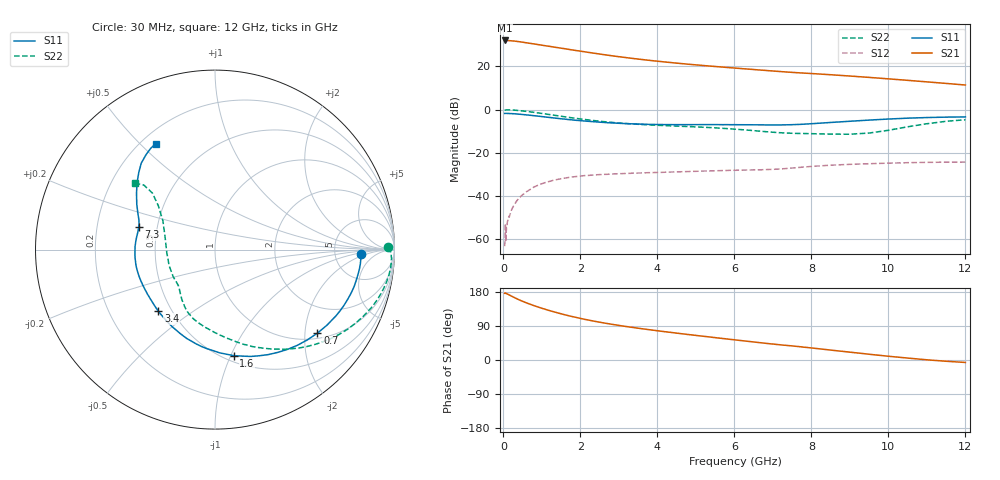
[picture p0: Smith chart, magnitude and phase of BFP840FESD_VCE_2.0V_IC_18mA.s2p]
! Infineon Technologies  Discrete & RF Semiconductors
! BFP840FESD
! VCE =  2.0 V,  IC =  18 mA
! Common Emitter S-Parameters:  May 2012
# GHz  S  MA  R  50
!  f  S11  S21  S12  S22
! GHz  MAG  ANG  MAG  ANG  MAG  ANG  MAG  ANG
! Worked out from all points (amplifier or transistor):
!   103 points, 30 MHz to 12 GHz, reference 50 ohm
!   highest |S21| = 31.9 dB at 30 MHz (marker M1)
!   |S21| within 3 dB of that: start of sweep to 1.294 GHz
!   unconditionally stable (mu >= 1): 5.968 GHz to end of sweep
!   at 400 MHz: K = 0.18, MSG = 36.2 dB, |S12| = -41.0 dB
!   at 3.7 GHz: K = 0.70, MSG = 26.1 dB, |S12| = -29.2 dB
!   at 12 GHz: K = 1.10, MAG = 15.9 dB, |S12| = -24.3 dB
!   S11 on the Smith chart (normalised r, x): 30 MHz: 9.53, -1.36; 700 MHz: 1.14, -2.32; 1.6 GHz: 0.56, -1.03; 3.4 GHz: 0.42, -0.37; 7.3 GHz: 0.39, +0.12; 12 GHz: 0.26, +0.56
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0.03  0.8136 -1.7  39.41 176.0  0.0007 56.9  0.965 0.7
0.04  0.814 -2.3  39.38 175.6  0.0009 67.7  0.9715 0.1
0.05  0.8145 -3.0  39.35 176.7  0.0023 61.8  0.9784 -0.5
0.06  0.8138 -3.4  39.24 176.3  0.0009 67.2  0.978 -1.0
0.15  0.81 -9.0  39.01 171.7  0.0033 75.9  0.9838 -5.9
0.25  0.802 -14.9  38.38 166.5  0.0057 77.1  0.9732 -10.5
0.45  0.7759 -26.1  36.45 156.9  0.0099 73.6  0.9383 -18.7
0.7  0.7364 -39.2  33.69 146.9  0.0144 67.9  0.883 -27.8
0.9  0.7041 -49.1  31.67 139.8  0.0179 62.8  0.8364 -34.5
1.1  0.6716 -58.4  29.66 133.4  0.0208 58.4  0.7895 -40.7
1.3  0.6411 -67.3  27.85 127.4  0.0233 54.4  0.7435 -46.6
1.6  0.6003 -79.9  25.38 119.2  0.0262 49.3  0.6795 -54.8
2.1  0.5446 -98.1  21.63 107.5  0.0298 42.5  0.5916 -66.9
2.7  0.4977 -115.8  18.04 96.2  0.032 37.3  0.5162 -78.8
3.4  0.4659 -132.7  15 85.3  0.0341 34.1  0.4624 -90.1
4.1  0.4508 -146.7  12.81 75.9  0.0354 32.9  0.4297 -99.1
5.1  0.4484 -163.3  10.57 63.7  0.0377 31.9  0.394 -110.0
6.1  0.4462 -177.7  8.955 52.1  0.0398 32.0  0.3479 -120.5
7.3  0.4431 163.5  7.424 39.0  0.0432 35.7  0.2878 -134.8
8.5  0.5032 150.0  6.371 26.2  0.0519 34.0  0.2708 -160.7
10.5  0.6329 130.5  4.728 5.1  0.0593 27.2  0.3999 142.2
12  0.6761 119.2  3.684 -6.5  0.0612 24.6  0.5807 140.3
